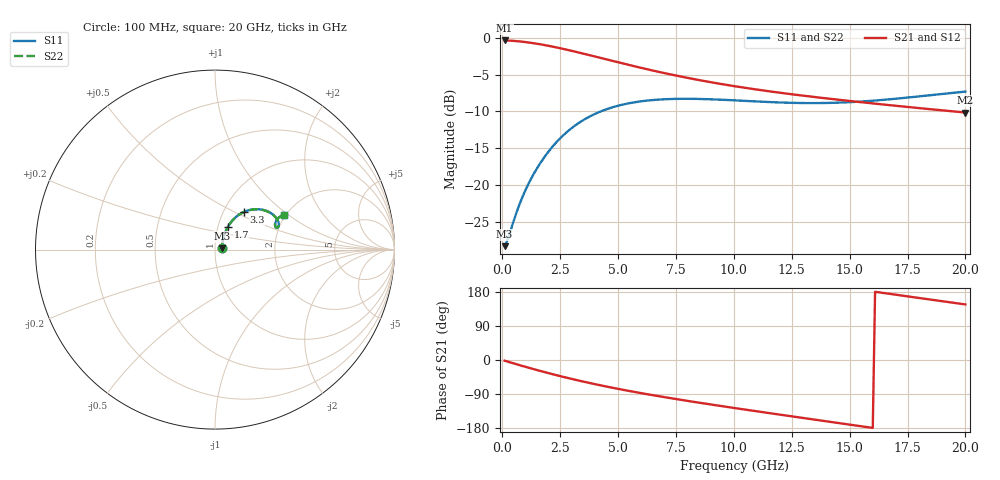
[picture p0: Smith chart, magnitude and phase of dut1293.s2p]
! Touchstone file exported from HFSS 2024.1.0
!  File:  C:/UserFiles/LocalFiles/RDL_TSV_Batchsim/temp_RDL_TSV_1293_1780280208.aedt
!  Generated:  10:31:36 AM Jun  1, 2026
!  Design:  RDL_TSV
!  Project:  temp_RDL_TSV_1293_1780280208
!  Setup:  Setup1
!  Solution:  Sweep
! Variables:
!  dtsv = 7.51um
!  hbump = 3um
!  htsv = 81.15um
!  ldown = 251.06um
!  lrdl = 535.4um
!  p = 40
!  p1 = 51.52um
!  rhole = 10um
!  subl = 2894.78um
!  t = 450um
!  tdown = 2.18um
!  trdl = 2.04um
!  viad = 10um
!  wdown = 13.94um
!  wrdl = 12.69um
!  xbump = 18um
# GHz S MA R 50.000000
! Terminal data exported
! Port[1] = TM1_1_T1
! Port[2] = TM1_4_T1
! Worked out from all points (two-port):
!   200 points, 100 MHz to 20 GHz, reference 50 ohm
!   highest |S21| = -0.33 dB at 100 MHz (marker M1); lowest = -10.1 dB at 20 GHz (marker M2)
!   |S21| within 3 dB of the highest: start of sweep to 5.036 GHz
!   lowest |S11| = -28.3 dB at 100 MHz (marker M3), VSWR 1.08, Z = 53.9 + j0.883 ohm
!   |S11| at or under -10 dB: start of sweep to 4.246 GHz
!   |S22| runs from -28.3 to -7.3 dB; largest |S21 - S12| = 7.7e-15
!   S11 on the Smith chart (normalised r, x): 100 MHz: 1.08, +0.02; 1.7 GHz: 1.12, +0.29; 3.3 GHz: 1.24, +0.56; 20 GHz: 1.96, +0.93
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0.1  0.03827 12.3  0.9625 -1.9  0.9625 -1.9  0.03827 12.3
! Gamma 0 0 0 0
! Port Impedance 50 0 50 0
0.2  0.04129 23.2  0.9616 -3.7  0.9616 -3.7  0.04129 23.2
0.6  0.06395 47.9  0.953 -11.0  0.953 -11.0  0.06396 47.9
0.9  0.08485 55.1  0.9426 -16.3  0.9426 -16.3  0.08485 55.1
1.3  0.1145 59.3  0.9246 -23.2  0.9246 -23.2  0.1145 59.3
1.7  0.1455 60.4  0.903 -29.9  0.903 -29.9  0.1454 60.4
2.1  0.1768 59.7  0.8786 -36.3  0.8786 -36.3  0.1767 59.7
2.5  0.2076 57.9  0.8523 -42.6  0.8523 -42.6  0.2074 57.8
3.3  0.2639 52.6  0.7969 -54.3  0.7969 -54.3  0.2635 52.5
3.5  0.2763 51.1  0.783 -57.0  0.783 -57.0  0.276 51.0
4.2  0.3141 45.7  0.735 -66.3  0.735 -66.3  0.3137 45.7
5.1  0.3492 39.2  0.6775 -77.3  0.6775 -77.3  0.3487 39.1
5.9  0.3691 34.1  0.6315 -86.4  0.6315 -86.4  0.3684 34.1
6.8  0.3813 29.3  0.5861 -96.0  0.5861 -96.0  0.3806 29.3
8.4  0.385 23.2  0.5206 -111.7  0.5206 -111.7  0.3843 23.2
10.1  0.376 19.9  0.4681 -127.4  0.4681 -127.4  0.3752 19.9
11.7  0.3655 19.4  0.4301 -141.7  0.4301 -141.7  0.3647 19.4
13.4  0.3605 21.0  0.3979 -156.6  0.3979 -156.6  0.3596 21.0
15  0.3657 23.4  0.3727 -170.5  0.3727 -170.5  0.3649 23.5
16.7  0.3823 25.7  0.3494 174.8  0.3494 174.8  0.3816 25.7
18.4  0.4067 26.8  0.3286 160.2  0.3286 160.2  0.406 26.9
20  0.4319 26.6  0.311 146.6  0.311 146.6  0.4313 26.7
